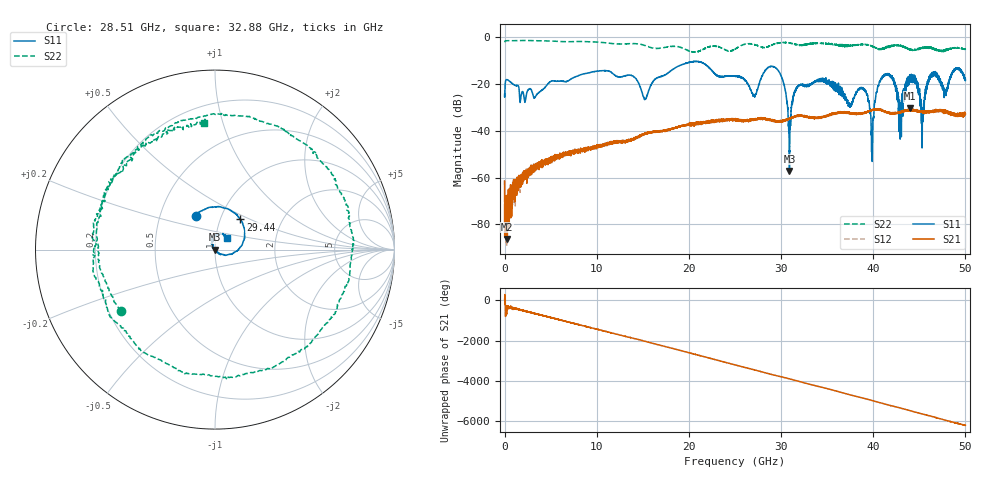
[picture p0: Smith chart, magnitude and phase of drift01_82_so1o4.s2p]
!Created with skrf (http://scikit-rf.org).
# Hz S RI R 50.0
!freq ReS11 ImS11 ReS21 ImS21 ReS12 ImS12 ReS22 ImS22
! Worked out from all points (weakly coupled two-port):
!   10001 points, 300 kHz to 50 GHz, reference 50 ohm
!   highest |S21| = -30.45 dB at 44.03 GHz (marker M1); lowest = -86.4 dB at 245.3 MHz (marker M2)
!   lowest |S11| = -57.2 dB at 30.91 GHz (marker M3), VSWR 1.00, Z = 49.9 + j0.0312 ohm
!   |S11| at or under -10 dB: start of sweep to end of sweep
!   |S22| runs from -6.4 to -1.3 dB; largest |S21 - S12| = 0.0043
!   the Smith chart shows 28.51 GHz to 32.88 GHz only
!   S11 on the Smith chart (normalised r, x): 28.51 GHz: 0.76, +0.30; 29.44 GHz: 1.24, +0.44; 32.88 GHz: 1.13, +0.15
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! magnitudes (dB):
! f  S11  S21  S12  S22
! 300 kHz  -24.3  -61.6  -61.1  -2.1
! 245.3 MHz  -18.1  -86.4  -75.1  -1.4
! 2.555 GHz  -22.4  -59.6  -58.9  -1.4
! 8.335 GHz  -15.9  -48.3  -48.0  -1.8
! 15.23 GHz  -26.6  -41.2  -41.2  -3.5
! 16.67 GHz  -17.1  -40.2  -40.4  -4.8
! 25 GHz  -16.5  -35.6  -35.2  -5.0
! 27.09 GHz  -25.1  -35.1  -35.1  -3.0
! 28.51 GHz  -13.3  -34.8  -35.1  -4.1
! 29.44 GHz  -13.2  -35.8  -35.9  -2.8
! 30.91 GHz  -57.2  -34.9  -34.9  -2.5
! 32.88 GHz  -20.5  -34.2  -33.9  -3.0
! 33.34 GHz  -19.8  -34.5  -34.3  -2.7
! 38.91 GHz  -22.0  -32.6  -32.3  -3.1
! 39.86 GHz  -49.5  -31.2  -31.0  -3.6
! 40.6 GHz  -20.5  -30.9  -30.9  -5.2
! 41.67 GHz  -15.6  -32.3  -32.5  -4.1
! 42.97 GHz  -37.0  -32.0  -31.9  -3.6
! 44.03 GHz  -18.1  -30.4  -31.2  -5.2
! 45.32 GHz  -41.8  -32.0  -31.5  -4.5
! 46.42 GHz  -15.7  -31.8  -31.6  -4.8
! 50 GHz  -18.0  -32.8  -32.4  -5.3
